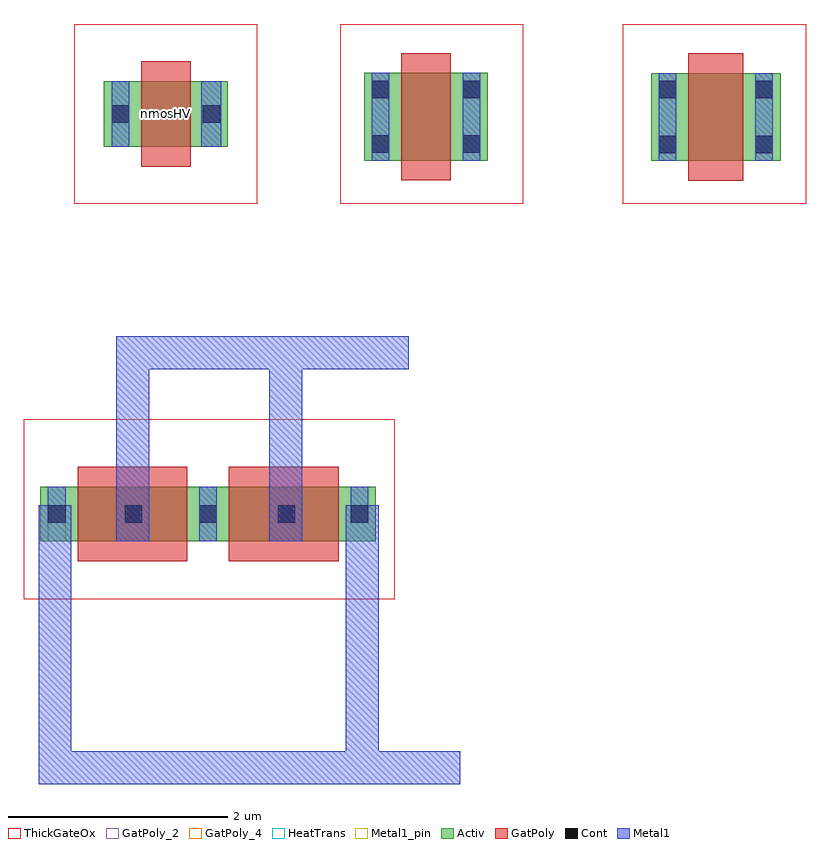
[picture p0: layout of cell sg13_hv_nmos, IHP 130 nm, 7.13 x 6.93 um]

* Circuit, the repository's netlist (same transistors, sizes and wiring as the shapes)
*==========================================================================
* Copyright 2024 IHP PDK Authors
*
* Licensed under the Apache License, Version 2.0 (the "License");
* you may not use this file except in compliance with the License.
* You may obtain a copy of the License at
*
*    https://www.apache.org/licenses/LICENSE-2.0
*
* Unless required by applicable law or agreed to in writing, software
* distributed under the License is distributed on an "AS IS" BASIS,
* WITHOUT WARRANTIES OR CONDITIONS OF ANY KIND, either express or implied.
* See the License for the specific language governing permissions and
* limitations under the License.
* SPDX-License-Identifier: Apache-2.0
*==========================================================================

.SUBCKT sg13_hv_nmos
MN1 D1 G1 S1 B sg13_hv_nmos m=1 w=0.6u l=0.45u ng=1
MN2 D2 G2 S2 B sg13_hv_nmos m=1 w=0.8u l=0.45u ng=1
MN3 D3 G3 S3 B sg13_hv_nmos m=1 w=0.8u l=0.5u ng=1
MN4 D4 G4 S4 B sg13_hv_nmos m=1 w=1.0u l=1.0u ng=2
.ENDS

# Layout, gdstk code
import gdstk
lib = gdstk.Library(unit=1e-6, precision=1e-09)
def R(c, l, rs):  # rectangles x0, y0, x1, y1
    for r in rs: c.add(gdstk.rectangle(r[:2], r[2:], *l))
def A(c, l, x, y, w, h, nx, ny, dx, dy):  # array of equal rectangles
    R(c, l, [(x+i*dx, y+j*dy, x+i*dx+w, y+j*dy+h) for i in range(nx) for j in range(ny)])
Activ = (1, 0)
GatPoly = (5, 0)
GatPoly_2 = (5, 2)
GatPoly_4 = (5, 4)
Cont = (6, 0)
Metal1 = (8, 0)
Metal1_pin = (8, 2)
ThickGateOx = (44, 0)
HeatTrans = (51, 0)

sg13_hv_nmos = lib.new_cell('sg13_hv_nmos')
A(sg13_hv_nmos, Activ, -0.58, -3.6, 0.3, 0.3, 3, 1, 1.38, 0)
R(sg13_hv_nmos, Activ, [(-0.58,-3.6,2.48,-3.1), (4.992,-0.128,5.292,0.172), (4.992,-0.128,6.172,0.672), (5.872,-0.128,6.172,0.172), (2.373,-0.126,2.673,0.174), (2.373,-0.126,3.503,0.674), (3.203,-0.126,3.503,0.174), (0,0,1.13,0.6), (0,0,0.3,0.3), (0.83,0,1.13,0.3)])
R(sg13_hv_nmos, GatPoly, [(-0.24,-3.78,0.76,-2.92), (1.14,-3.78,2.14,-2.92), (5.332,-0.308,5.832,0.852), (2.713,-0.306,3.163,0.854), (0.34,-0.18,0.79,0.78)])
R(sg13_hv_nmos, GatPoly_2, [(0.34,-0.18,0.79,0.78)])
R(sg13_hv_nmos, GatPoly_4, [(-0.24,-3.78,0.76,-2.92), (-0.24,-3.78,0.76,-2.92), (5.332,-0.308,5.832,0.852), (5.332,-0.308,5.832,0.852), (2.713,-0.306,3.163,0.854), (2.713,-0.306,3.163,0.854)])
R(sg13_hv_nmos, Cont, [(-0.51,-3.43,-0.35,-3.27), (0.19,-3.43,0.35,-3.27), (0.87,-3.43,1.03,-3.27), (1.585,-3.43,1.745,-3.27), (2.25,-3.43,2.41,-3.27), (5.062,-0.058,5.222,0.102), (5.942,-0.058,6.102,0.102), (2.443,-0.056,2.603,0.104), (3.273,-0.056,3.433,0.104), (0.07,0.22,0.23,0.38), (0.9,0.22,1.06,0.38), (5.062,0.442,5.222,0.602), (5.942,0.442,6.102,0.602), (2.443,0.444,2.603,0.604), (3.273,0.444,3.433,0.604)])
R(sg13_hv_nmos, Metal1, [(-0.51,-3.6,-0.35,-3.1), (0.19,-3.6,0.35,-3.1), (0.87,-3.6,1.03,-3.1), (1.585,-3.6,1.745,-3.1), (2.25,-3.6,2.41,-3.1), (5.062,-0.128,5.222,0.672), (5.942,-0.128,6.102,0.672), (2.443,-0.126,2.603,0.674), (3.273,-0.126,3.433,0.674), (0.07,0,0.23,0.6), (0.89,0,1.07,0.6)])
R(sg13_hv_nmos, Metal1_pin, [(-0.51,-3.6,-0.35,-3.1), (-0.51,-3.6,-0.35,-3.1), (0.87,-3.6,1.03,-3.1), (0.87,-3.6,1.03,-3.1), (5.062,-0.128,5.222,0.672), (5.062,-0.128,5.222,0.672), (5.942,-0.128,6.102,0.672), (5.942,-0.128,6.102,0.672), (2.443,-0.126,2.603,0.674), (2.443,-0.126,2.603,0.674), (3.273,-0.126,3.433,0.674), (3.273,-0.126,3.433,0.674), (0.07,0,0.23,0.6), (0.89,0,1.07,0.6)])
R(sg13_hv_nmos, ThickGateOx, [(-0.729,-4.125,2.651,-2.485), (-0.27,-0.52,1.4,1.12), (2.154,-0.52,3.824,1.12), (4.734,-0.52,6.404,1.12)])
R(sg13_hv_nmos, HeatTrans, [(-0.24,-3.78,0.76,-2.92), (1.14,-3.78,2.14,-2.92), (5.332,-0.308,5.832,0.852), (2.713,-0.306,3.163,0.854), (0.34,-0.18,0.79,0.78)])
sg13_hv_nmos.add(gdstk.FlexPath([(2.358,-3.27),(2.358,-5.589)], 0.3, ends="flush", simple_path=True, layer=8, datatype=0))  # Metal1
sg13_hv_nmos.add(gdstk.FlexPath([(-0.446,-3.27),(-0.446,-5.662)], 0.3, ends="flush", simple_path=True, layer=8, datatype=0))  # Metal1
sg13_hv_nmos.add(gdstk.FlexPath([(-0.596,-5.662),(3.249,-5.662)], 0.3, ends="flush", simple_path=True, layer=8, datatype=0))  # Metal1
sg13_hv_nmos.add(gdstk.FlexPath([(1.66,-3.6),(1.66,-1.797)], 0.3, ends="flush", simple_path=True, layer=8, datatype=0))  # Metal1
sg13_hv_nmos.add(gdstk.FlexPath([(0.263,-3.6),(0.263,-1.878),(2.78,-1.878)], 0.3, ends="flush", simple_path=True, layer=8, datatype=0))  # Metal1
sg13_hv_nmos.add(gdstk.Label('nmosHV', (0.565,0.3), layer=63, texttype=0))
sg13_hv_nmos.add(gdstk.Label('nmosHV', (0.565,0.3), layer=51, texttype=0))

lib.write_gds('sg13_hv_nmos.gds')
